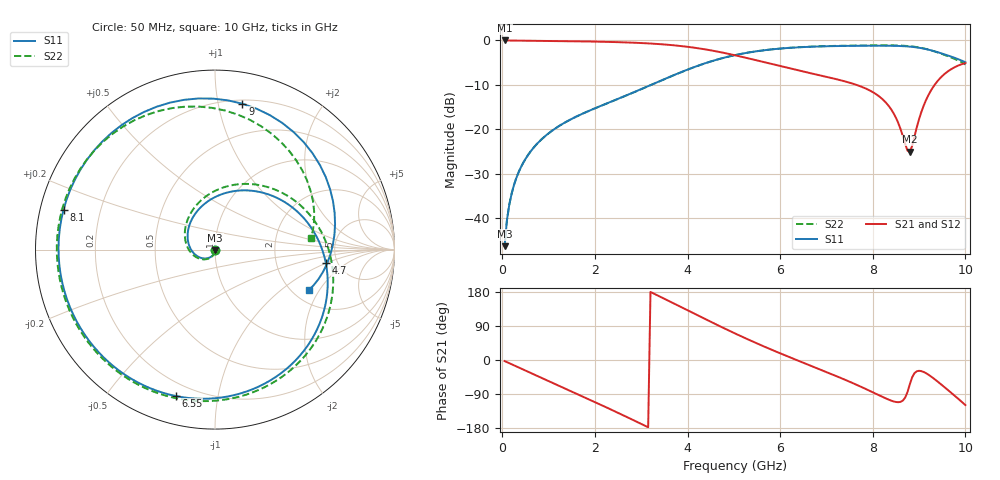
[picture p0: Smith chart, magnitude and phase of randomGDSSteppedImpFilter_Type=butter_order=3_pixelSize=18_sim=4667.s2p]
! freq	dB(S11)	phase(S11)	dB(S12)	phase(S12)
!  dB(S21)	phase(S21)	dB(S22)	phase(S22)
!S-par simulation data
#  GHz  S  DB  R 50
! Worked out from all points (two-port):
!   200 points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, 50 MHz to 10 GHz, reference 50 ohm
!   highest |S21| = -0.01 dB at 50 MHz (marker M1); lowest = -25.0 dB at 8.8 GHz (marker M2)
!   |S21| within 3 dB of the highest: start of sweep to 4.882 GHz
!   lowest |S11| = -46.2 dB at 50 MHz (marker M3), VSWR 1.01, Z = 50 - j0.488 ohm
!   |S11| at or under -10 dB: start of sweep to 3.209 GHz
!   |S22| runs from -46.2 to -1.1 dB; largest |S21 - S12| = 0
!   S11 on the Smith chart (normalised r, x): 50 MHz: 1.00, -0.01; 4.7 GHz: 4.04, -0.98; 6.55 GHz: 0.13, -0.76; 8.1 GHz: 0.07, +0.13; 9 GHz: 0.23, +1.18; 10 GHz: 2.41, -1.62
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0.05  -46.23 -89.3  -0.01 -2.8  -0.01 -2.8  -46.23 -89.0
0.1  -40.42 -93.7  -0.01 -5.6  -0.01 -5.6  -40.41 -93.1
0.2  -34.49 -100.8  -0.02 -11.1  -0.02 -11.1  -34.48 -99.7
0.5  -26.64 -119.5  -0.05 -27.7  -0.05 -27.7  -26.64 -116.7
1.15  -19.74 -157.9  -0.12 -63.6  -0.12 -63.6  -19.74 -151.4
1.75  -16.37 166.8  -0.21 -97.0  -0.21 -97.0  -16.39 176.6
2.65  -12.48 114.0  -0.44 -148.2  -0.44 -148.2  -12.50 126.9
3.4  -9.14 69.8  -0.83 167.6  -0.83 167.6  -9.16 82.7
4.1  -6.16 28.3  -1.57 125.1  -1.57 125.1  -6.17 39.8
4.7  -4.13 -6.9  -2.61 89.0  -2.61 89.0  -4.13 3.4
5.05  -3.24 -26.8  -3.39 68.7  -3.39 68.7  -3.24 -17.0
5.85  -1.98 -69.7  -5.39 25.3  -5.39 25.3  -1.97 -60.3
6.55  -1.47 -105.1  -7.11 -9.7  -7.11 -9.7  -1.44 -94.8
6.7  -1.40 -112.6  -7.47 -17.0  -7.47 -17.0  -1.37 -102.0
7.5  -1.22 -155.5  -9.50 -57.3  -9.50 -57.3  -1.17 -141.2
8.1  -1.18 165.2  -12.29 -91.0  -12.29 -91.0  -1.10 -175.1
8.35  -1.19 145.2  -14.80 -104.9  -14.80 -104.9  -1.10 168.1
8.8  -1.39 101.7  -25.03 -64.0  -25.03 -64.0  -1.30 131.4
9  -1.65 79.4  -17.67 -28.5  -17.67 -28.5  -1.58 112.1
9.45  -2.80 27.8  -8.53 -61.8  -8.53 -61.8  -2.87 64.0
9.75  -3.84 -2.7  -6.12 -92.3  -6.12 -92.3  -4.08 31.6
10  -4.90 -23.5  -5.11 -119.0  -5.11 -119.0  -5.40 6.7
